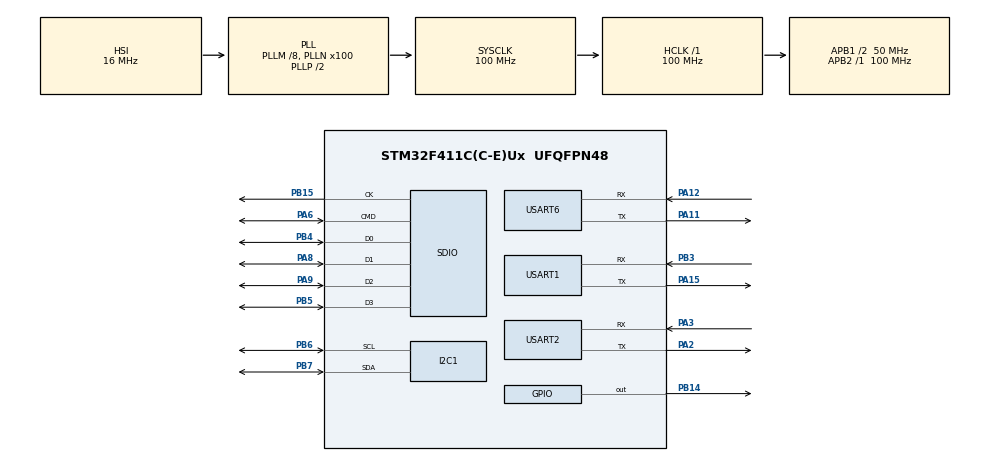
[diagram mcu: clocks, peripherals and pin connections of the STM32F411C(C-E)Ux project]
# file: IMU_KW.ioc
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Dma.Request0=SDIO_RX
Dma.Request1=SDIO_TX
Dma.Request2=USART2_RX
Dma.SDIO_RX.0.Direction=DMA_PERIPH_TO_MEMORY
Dma.SDIO_RX.0.FIFOMode=DMA_FIFOMODE_ENABLE
Dma.SDIO_RX.0.FIFOThreshold=DMA_FIFO_THRESHOLD_FULL
Dma.SDIO_RX.0.Instance=DMA2_Stream3
Dma.SDIO_RX.0.MemBurst=DMA_MBURST_INC4
Dma.SDIO_RX.0.MemDataAlignment=DMA_MDATAALIGN_WORD
Dma.SDIO_RX.0.MemInc=DMA_MINC_ENABLE
Dma.SDIO_RX.0.Mode=DMA_PFCTRL
Dma.SDIO_RX.0.PeriphBurst=DMA_PBURST_INC4
Dma.SDIO_RX.0.PeriphDataAlignment=DMA_PDATAALIGN_WORD
Dma.SDIO_RX.0.PeriphInc=DMA_PINC_DISABLE
Dma.SDIO_RX.0.Priority=DMA_PRIORITY_LOW
Dma.SDIO_TX.1.Direction=DMA_MEMORY_TO_PERIPH
Dma.SDIO_TX.1.FIFOMode=DMA_FIFOMODE_ENABLE
Dma.SDIO_TX.1.FIFOThreshold=DMA_FIFO_THRESHOLD_FULL
Dma.SDIO_TX.1.Instance=DMA2_Stream6
Dma.SDIO_TX.1.MemBurst=DMA_MBURST_INC4
Dma.SDIO_TX.1.MemDataAlignment=DMA_MDATAALIGN_WORD
Dma.SDIO_TX.1.MemInc=DMA_MINC_ENABLE
Dma.SDIO_TX.1.Mode=DMA_PFCTRL
Dma.SDIO_TX.1.PeriphBurst=DMA_PBURST_INC4
Dma.SDIO_TX.1.PeriphDataAlignment=DMA_PDATAALIGN_WORD
Dma.SDIO_TX.1.PeriphInc=DMA_PINC_DISABLE
Dma.SDIO_TX.1.Priority=DMA_PRIORITY_LOW
Dma.USART2_RX.2.Direction=DMA_PERIPH_TO_MEMORY
Dma.USART2_RX.2.FIFOMode=DMA_FIFOMODE_DISABLE
Dma.USART2_RX.2.Instance=DMA1_Stream5
Dma.USART2_RX.2.MemDataAlignment=DMA_MDATAALIGN_BYTE
Dma.USART2_RX.2.MemInc=DMA_MINC_ENABLE
Dma.USART2_RX.2.Mode=DMA_CIRCULAR
Dma.USART2_RX.2.PeriphDataAlignment=DMA_PDATAALIGN_BYTE
Dma.USART2_RX.2.PeriphInc=DMA_PINC_DISABLE
Dma.USART2_RX.2.Priority=DMA_PRIORITY_LOW
FATFS._MAX_SS=4096
FREERTOS.Tasks01=defaultTask,0,128,StartDefaultTask,Default,NULL
FREERTOS.configTICK_RATE_HZ=1000
Mcu.Family=STM32F4
Mcu.Name=STM32F411C(C-E)Ux
Mcu.Package=UFQFPN48
NVIC.DMA1_Stream5_IRQn=true\:5\:0\:false\:false\:true\:true\:false\:true
NVIC.DMA2_Stream3_IRQn=true\:5\:0\:false\:false\:true\:true\:false\:true
NVIC.DMA2_Stream6_IRQn=true\:5\:0\:false\:false\:true\:true\:false\:true
NVIC.PriorityGroup=NVIC_PRIORITYGROUP_4
NVIC.SDIO_IRQn=true\:5\:0\:false\:false\:true\:true\:true\:true
NVIC.TIM4_IRQn=true\:5\:0\:false\:false\:true\:true\:true\:true
NVIC.TIM5_IRQn=true\:0\:0\:false\:false\:true\:false\:false\:true
NVIC.TimeBase=TIM5_IRQn
NVIC.TimeBaseIP=TIM5
NVIC.USART1_IRQn=true\:5\:0\:false\:false\:true\:true\:true\:true
NVIC.USART2_IRQn=true\:5\:0\:false\:false\:true\:true\:true\:true
PA11.Mode=Asynchronous
PA11.Signal=USART6_TX
PA12.Mode=Asynchronous
PA12.Signal=USART6_RX
PA15.Mode=Asynchronous
PA15.Signal=USART1_TX
PA2.Mode=Asynchronous
PA2.Signal=USART2_TX
PA3.Mode=Asynchronous
PA3.Signal=USART2_RX
PA6.GPIO_PuPd=GPIO_PULLUP
PA6.Mode=SD_4_bits_Wide_bus
PA6.Signal=SDIO_CMD
PA8.GPIO_PuPd=GPIO_PULLUP
PA8.Mode=SD_4_bits_Wide_bus
PA8.Signal=SDIO_D1
PA9.GPIO_PuPd=GPIO_PULLUP
PA9.Mode=SD_4_bits_Wide_bus
PA9.Signal=SDIO_D2
PB14.Signal=GPIO_Output
PB15.Mode=SD_4_bits_Wide_bus
PB15.Signal=SDIO_CK
PB3.Mode=Asynchronous
PB3.Signal=USART1_RX
PB4.GPIO_PuPd=GPIO_PULLUP
PB4.Mode=SD_4_bits_Wide_bus
PB4.Signal=SDIO_D0
PB5.GPIO_PuPd=GPIO_PULLUP
PB5.Mode=SD_4_bits_Wide_bus
PB5.Signal=SDIO_D3
PB6.Mode=I2C
PB6.Signal=I2C1_SCL
PB7.Mode=I2C
PB7.Signal=I2C1_SDA
PH0\ -\ OSC_IN.Mode=HSE-External-Oscillator
PH0\ -\ OSC_IN.Signal=RCC_OSC_IN
PH1\ -\ OSC_OUT.Mode=HSE-External-Oscillator
PH1\ -\ OSC_OUT.Signal=RCC_OSC_OUT
ProjectManager.HeapSize=0x2000
ProjectManager.StackSize=0x4000
ProjectManager.TargetToolchain=MDK-ARM V5
RCC.48MHZClocksFreq_Value=40000000
RCC.AHBFreq_Value=100000000
RCC.APB1CLKDivider=RCC_HCLK_DIV2
RCC.APB1Freq_Value=50000000
RCC.APB1TimFreq_Value=100000000
RCC.APB2Freq_Value=100000000
RCC.APB2TimFreq_Value=100000000
RCC.CortexFreq_Value=100000000
RCC.HCLKFreq_Value=100000000
RCC.HSE_VALUE=8000000
RCC.HSI_VALUE=16000000
RCC.LSE_VALUE=32768
RCC.PLLM=8
RCC.PLLN=100
RCC.PLLQ=5
RCC.SYSCLKFreq_VALUE=100000000
RCC.SYSCLKSource=RCC_SYSCLKSOURCE_PLLCLK
RCC.VCOOutputFreq_Value=200000000
SDIO.ClockDiv=3
TIM4.Period=100-1
TIM4.Prescaler=1000-1
TIM4.TIM_MasterOutputTrigger=TIM_TRGO_UPDATE
USART1.VirtualMode=VM_ASYNC
USART2.VirtualMode=VM_ASYNC
USART6.VirtualMode=VM_ASYNC
VP_CRC_VS_CRC.Mode=CRC_Activate
VP_FATFS_VS_SDIO.Mode=SDIO
VP_FREERTOS_VS_CMSIS_V1.Mode=CMSIS_V1
VP_SYS_VS_tim5.Mode=TIM5
VP_TIM4_VS_ClockSourceINT.Mode=Internal
board=custom

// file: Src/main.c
/* USER CODE BEGIN Header */
/*Definition in INSOLE_R_KR
DATASET :
INSOLE_L : 10BYTE(FSR) + 4BYTE(ST/ED) + 2BYTE(CRC) = 16BYTE
INSOLE_R : 20BYTE(FSR) + 4BYTE(ST/ED) + 2BYTE(CRC)= 26BYTE
IMU 		 : 20BYTE(FSR) + 18BYTE(IMU) + 4BYTE(ST/ED) + 2BYTE(CRC) = 44BYTE
*/
/**
  ******************************************************************************
  * @file           : main.c
  * @brief          : Main program body
  ******************************************************************************
  * @attention
  *
  * <h2><center>&copy; Copyright (c) 2020 STMicroelectronics.
  * All rights reserved.</center></h2>
  *
  * This software component is licensed by ST under Ultimate Liberty license
  * SLA0044, the "License"; You may not use this file except in compliance with
  * the License. You may obtain a copy of the License at:
  *                             www.st.com/SLA0044
  *
  ******************************************************************************
  */
/* USER CODE END Header */

#include "main.h"
#include "cmsis_os.h"
#include "fatfs.h"

/* USER CODE BEGIN Includes */
#include <stdio.h>
#include <string.h>
#include <stdbool.h>
/* USER CODE END Includes */

/* USER CODE BEGIN PD */
//define : MPU9250
	#define MPU9250_ADDRESS	0xD2
	#define AK8963_ADDRESS   0x0C<<1
	#define AK8963_ST1       0x02  // data ready status bit 0
	#define AK8963_XOUT_L    0x03  // data
	#define ACCEL_XOUT_H     0x3B
	#define GYRO_XOUT_H      0x43
	#define AK8963_CNTL      0x0A  // Power down (0000), single-measurement (0001), self-test (1000) and Fuse ROM (1111) modes on bits 3:0
	#define ACCEL_CONFIG     0x1C
	#define CONFIG           0x1A
	#define INT_PIN_CFG      0x37
	#define INT_ENABLE       0x38
	#define ACCEL_CONFIG2    0x1D
	#define GYRO_CONFIG      0x1B
	#define SMPLRT_DIV       0x19
	#define PWR_MGMT_1       0x6B // Device defaults to the SLEEP mode
	#define PWR_MGMT_2       0x6C
	#define AK8963_ASAX      0x10  // Fuse ROM x-axis sensitivity adjustment value
enum Ascale {
  AFS_2G = 0,
  AFS_4G,
  AFS_8G,
  AFS_16G
};
enum Gscale {
  GFS_250DPS = 0,
  GFS_500DPS,
  GFS_1000DPS,
  GFS_2000DPS
};

enum Mscale {
  MFS_14BITS = 0, // 0.6 mG per LSB
  MFS_16BITS      // 0.15 mG per LSB
};

uint8_t Ascale = AFS_2G;     // AFS_2G, AFS_4G, AFS_8G, AFS_16G
uint8_t Gscale = GFS_250DPS; // GFS_250DPS, GFS_500DPS, GFS_1000DPS, GFS_2000DPS
uint8_t Mscale = MFS_16BITS; // MFS_14BITS or MFS_16BITS, 14-bit or 16-bit magnetometer resolution
uint8_t Mmode = 0x06;        // Either 8 Hz 0x02) or 100 Hz (0x06) magnetometer data ODR
float aRes, gRes, mRes;      // scale resolutions per LSB for the sensors

/* USER CODE END PD */

CRC_HandleTypeDef hcrc;

I2C_HandleTypeDef hi2c1;

SD_HandleTypeDef hsd;
DMA_HandleTypeDef hdma_sdio_rx;
DMA_HandleTypeDef hdma_sdio_tx;

TIM_HandleTypeDef htim4;

UART_HandleTypeDef huart1;
UART_HandleTypeDef huart2;
UART_HandleTypeDef huart6;
DMA_HandleTypeDef hdma_usart2_rx;

osThreadId defaultTaskHandle;
osThreadId defaultTaskHandle2;

void SystemClock_Config(void);
static void MX_GPIO_Init(void);
static void MX_DMA_Init(void);
static void MX_USART1_UART_Init(void);
static void MX_USART2_UART_Init(void);
static void MX_SDIO_SD_Init(void);
static void MX_TIM4_Init(void);
static void MX_USART6_UART_Init(void);
static void MX_CRC_Init(void);
static void MX_I2C1_Init(void);
void StartDefaultTask(void const * argument);
void StartDefaultTask2(void const * argument);

void wdg_activate(void);
void initMPU9250(void);
void readMagData(int8_t * destination);
void readGyroData(int8_t * destination);
void readAccelData(int8_t * destination);
void writeByte(uint8_t address, uint8_t subAddress, uint8_t data);
void readBytes(uint8_t address, uint8_t subAddress, uint8_t count, uint8_t * dest);
char readByte(uint8_t address, uint8_t subAddress);

void initAK8963(void);

/* USER CODE BEGIN 0 */
	//watchdog

	uint8_t wdg_cnt = 0;
	// I2C and IMU
	int8_t acc_[6] = {0,};
	int8_t gy_[6] = {0,};
	int8_t mag_[6] = {0,};;

	//recieved data
	uint16_t receive_val;
	uint16_t cal_val;

	// Communication
	bool received_flag = false;
	uint8_t txdata[46];
	uint8_t rxBuf[26];
	uint8_t rxBuf_[26];
	uint8_t rxBuf_crc[26];

	uint8_t i2cBuf[7];
	uint8_t Imu_dataBuf[18] = {0,};\
	uint8_t buff_index = 0;

	bool data_received_dma = true;

	//crc
	uint32_t crcArray[8] = {0,};
	uint32_t crcArray_send[10] = {0,};

	uint16_t crcval = 0;

	//SD card variables
	extern char SDPath[4];   /* SD logical drive path */
	extern FATFS SDFatFS;    /* File system object for SD logical drive */
	extern FIL SDFile;       /* File object for SD */

	//FILE I/O operation

	FRESULT res;                                          /* FatFs function common result code */
	uint32_t byteswritten, bytesread;                     /* File write/read counts */
	uint8_t wtext[] = "Hello from kyeum!"; 			      /* File write start buffer */
	uint8_t rtext[100];                                   /* File read buffer */

	FATFS myFATAS;
	FIL myFILE;
	UINT testByte; 										  // error detection

	//data save
	bool datasave_flg = false;

	//Timer
	uint16_t ms_tmr = 0;
	uint16_t _10ms_tmr = 0;
	uint16_t send_10ms_tmr = 0;

	uint16_t ms_sv_tmr = 0;
	bool _100ms_flg = false;
	bool _10ms_flg = false;
	bool dma_connect = false;

	uint16_t test_val = 0;

/* USER CODE END 0 */

int main(void)
{

  /* MCU Configuration--------------------------------------------------------*/

  /* Reset of all peripherals, Initializes the Flash interface and the Systick. */
  HAL_Init();

  /* Configure the system clock */
  SystemClock_Config();

  /* Initialize all configured peripherals */
  MX_GPIO_Init();
  MX_DMA_Init();
  MX_USART1_UART_Init();
  MX_USART2_UART_Init();
  MX_SDIO_SD_Init();
  MX_TIM4_Init();
  MX_USART6_UART_Init();
  MX_CRC_Init();
  MX_I2C1_Init();
  /* USER CODE BEGIN 2 */
	HAL_UART_Receive_DMA(&huart2, (uint8_t *)rxBuf_crc, 26); //interrupt mode only in the mcu data
	HAL_TIM_Base_Start_IT(&htim4);

	initMPU9250();
	initAK8963();

  /* USER CODE END 2 */

  /* Create the thread(s) */
  /* definition and creation of defaultTask */
  osThreadDef(defaultTaskHandle, StartDefaultTask, osPriorityAboveNormal, 0, 128);
  defaultTaskHandle = osThreadCreate(osThread(defaultTaskHandle), NULL);

	//osThreadDef(defaultTaskHandle2, StartDefaultTask2, osPriorityNormal, 0, 128);
  //defaultTaskHandle2 = osThreadCreate(osThread(defaultTaskHandle2), NULL);

  /* Start scheduler */
  osKernelStart();

  /* We should never get here as control is now taken by the scheduler */

  /* Infinite loop */
  while (1)
  {

  }
}

void SystemClock_Config(void)
{
  RCC_OscInitTypeDef RCC_OscInitStruct = {0};
  RCC_ClkInitTypeDef RCC_ClkInitStruct = {0};

  /** Configure the main internal regulator output voltage
  */
  __HAL_RCC_PWR_CLK_ENABLE();
  __HAL_PWR_VOLTAGESCALING_CONFIG(PWR_REGULATOR_VOLTAGE_SCALE1);
  /** Initializes the CPU, AHB and APB busses clocks
  */
  RCC_OscInitStruct.OscillatorType = RCC_OSCILLATORTYPE_HSI;
  RCC_OscInitStruct.HSIState = RCC_HSI_ON;
  RCC_OscInitStruct.HSICalibrationValue = RCC_HSICALIBRATION_DEFAULT;
  RCC_OscInitStruct.PLL.PLLState = RCC_PLL_ON;
  RCC_OscInitStruct.PLL.PLLSource = RCC_PLLSOURCE_HSI;
  RCC_OscInitStruct.PLL.PLLM = 8;
  RCC_OscInitStruct.PLL.PLLN = 100;
  RCC_OscInitStruct.PLL.PLLP = RCC_PLLP_DIV2;
  RCC_OscInitStruct.PLL.PLLQ = 5;
  if (HAL_RCC_OscConfig(&RCC_OscInitStruct) != HAL_OK)
  {
    Error_Handler();
  }
  /** Initializes the CPU, AHB and APB busses clocks
  */
  RCC_ClkInitStruct.ClockType = RCC_CLOCKTYPE_HCLK|RCC_CLOCKTYPE_SYSCLK
                              |RCC_CLOCKTYPE_PCLK1|RCC_CLOCKTYPE_PCLK2;
  RCC_ClkInitStruct.SYSCLKSource = RCC_SYSCLKSOURCE_PLLCLK;
  RCC_ClkInitStruct.AHBCLKDivider = RCC_SYSCLK_DIV1;
  RCC_ClkInitStruct.APB1CLKDivider = RCC_HCLK_DIV2;
  RCC_ClkInitStruct.APB2CLKDivider = RCC_HCLK_DIV1;

  if (HAL_RCC_ClockConfig(&RCC_ClkInitStruct, FLASH_LATENCY_3) != HAL_OK)
  {
    Error_Handler();
  }
}

static void MX_CRC_Init(void)
{

  hcrc.Instance = CRC;
  if (HAL_CRC_Init(&hcrc) != HAL_OK)
  {
    Error_Handler();
  }

}

static void MX_I2C1_Init(void)
{

  hi2c1.Instance = I2C1;
  hi2c1.Init.ClockSpeed = 1000000;
  hi2c1.Init.DutyCycle = I2C_DUTYCYCLE_2;
  hi2c1.Init.OwnAddress1 = 0;
  hi2c1.Init.AddressingMode = I2C_ADDRESSINGMODE_7BIT;
  hi2c1.Init.DualAddressMode = I2C_DUALADDRESS_DISABLE;
  hi2c1.Init.OwnAddress2 = 0;
  hi2c1.Init.GeneralCallMode = I2C_GENERALCALL_DISABLE;
  hi2c1.Init.NoStretchMode = I2C_NOSTRETCH_DISABLE;
  if (HAL_I2C_Init(&hi2c1) != HAL_OK)
  {
    Error_Handler();
  }

}

static void MX_SDIO_SD_Init(void)
{

  hsd.Instance = SDIO;
  hsd.Init.ClockEdge = SDIO_CLOCK_EDGE_RISING;
  hsd.Init.ClockBypass = SDIO_CLOCK_BYPASS_DISABLE;
  hsd.Init.ClockPowerSave = SDIO_CLOCK_POWER_SAVE_DISABLE;
  hsd.Init.BusWide = SDIO_BUS_WIDE_1B;
  hsd.Init.HardwareFlowControl = SDIO_HARDWARE_FLOW_CONTROL_DISABLE;
  hsd.Init.ClockDiv = 3;

}

static void MX_TIM4_Init(void)
{

  TIM_ClockConfigTypeDef sClockSourceConfig = {0};
  TIM_MasterConfigTypeDef sMasterConfig = {0};

  htim4.Instance = TIM4;
  htim4.Init.Prescaler = 1000-1;
  htim4.Init.CounterMode = TIM_COUNTERMODE_UP;
  htim4.Init.Period = 100-1;
  htim4.Init.ClockDivision = TIM_CLOCKDIVISION_DIV1;
  htim4.Init.AutoReloadPreload = TIM_AUTORELOAD_PRELOAD_DISABLE;
  if (HAL_TIM_Base_Init(&htim4) != HAL_OK)
  {
    Error_Handler();
  }
  sClockSourceConfig.ClockSource = TIM_CLOCKSOURCE_INTERNAL;
  if (HAL_TIM_ConfigClockSource(&htim4, &sClockSourceConfig) != HAL_OK)
  {
    Error_Handler();
  }
  sMasterConfig.MasterOutputTrigger = TIM_TRGO_UPDATE;
  sMasterConfig.MasterSlaveMode = TIM_MASTERSLAVEMODE_DISABLE;
  if (HAL_TIMEx_MasterConfigSynchronization(&htim4, &sMasterConfig) != HAL_OK)
  {
    Error_Handler();
  }

}

static void MX_USART1_UART_Init(void)
{

  huart1.Instance = USART1;
  huart1.Init.BaudRate = 115200;
  huart1.Init.WordLength = UART_WORDLENGTH_8B;
  huart1.Init.StopBits = UART_STOPBITS_1;
  huart1.Init.Parity = UART_PARITY_NONE;
  huart1.Init.Mode = UART_MODE_TX_RX;
  huart1.Init.HwFlowCtl = UART_HWCONTROL_NONE;
  huart1.Init.OverSampling = UART_OVERSAMPLING_16;
  if (HAL_UART_Init(&huart1) != HAL_OK)
  {
    Error_Handler();
  }

}

static void MX_USART2_UART_Init(void)
{

  huart2.Instance = USART2;
  huart2.Init.BaudRate = 115200;
  huart2.Init.WordLength = UART_WORDLENGTH_8B;
  huart2.Init.StopBits = UART_STOPBITS_1;
  huart2.Init.Parity = UART_PARITY_NONE;
  huart2.Init.Mode = UART_MODE_TX_RX;
  huart2.Init.HwFlowCtl = UART_HWCONTROL_NONE;
  huart2.Init.OverSampling = UART_OVERSAMPLING_16;
  if (HAL_UART_Init(&huart2) != HAL_OK)
  {
    Error_Handler();
  }

}

static void MX_USART6_UART_Init(void)
{

  huart6.Instance = USART6;
  huart6.Init.BaudRate = 115200;
  huart6.Init.WordLength = UART_WORDLENGTH_8B;
  huart6.Init.StopBits = UART_STOPBITS_1;
  huart6.Init.Parity = UART_PARITY_NONE;
  huart6.Init.Mode = UART_MODE_TX_RX;
  huart6.Init.HwFlowCtl = UART_HWCONTROL_NONE;
  huart6.Init.OverSampling = UART_OVERSAMPLING_16;
  if (HAL_UART_Init(&huart6) != HAL_OK)
  {
    Error_Handler();
  }

}

static void MX_DMA_Init(void)
{

  /* DMA controller clock enable */
  __HAL_RCC_DMA2_CLK_ENABLE();
  __HAL_RCC_DMA1_CLK_ENABLE();

  /* DMA interrupt init */
  /* DMA1_Stream5_IRQn interrupt configuration */
  HAL_NVIC_SetPriority(DMA1_Stream5_IRQn, 5, 0);
  HAL_NVIC_EnableIRQ(DMA1_Stream5_IRQn);
  /* DMA2_Stream3_IRQn interrupt configuration */
  HAL_NVIC_SetPriority(DMA2_Stream3_IRQn, 5, 0);
  HAL_NVIC_EnableIRQ(DMA2_Stream3_IRQn);
  /* DMA2_Stream6_IRQn interrupt configuration */
  HAL_NVIC_SetPriority(DMA2_Stream6_IRQn, 5, 0);
  HAL_NVIC_EnableIRQ(DMA2_Stream6_IRQn);

}

static void MX_GPIO_Init(void)
{
  GPIO_InitTypeDef GPIO_InitStruct = {0};

  /* GPIO Ports Clock Enable */
  __HAL_RCC_GPIOH_CLK_ENABLE();
  __HAL_RCC_GPIOA_CLK_ENABLE();
  __HAL_RCC_GPIOB_CLK_ENABLE();

  /*Configure GPIO pin Output Level */
  HAL_GPIO_WritePin(GPIOB, GPIO_PIN_14, GPIO_PIN_RESET);

  /*Configure GPIO pin : PB14 */
  GPIO_InitStruct.Pin = GPIO_PIN_14;
  GPIO_InitStruct.Mode = GPIO_MODE_OUTPUT_PP;
  GPIO_InitStruct.Pull = GPIO_NOPULL;
  GPIO_InitStruct.Speed = GPIO_SPEED_FREQ_LOW;
  HAL_GPIO_Init(GPIOB, &GPIO_InitStruct);

}

/* USER CODE BEGIN 4 */

void writeByte(uint8_t address, uint8_t subAddress, uint8_t data)
{
   uint8_t data_write[2];
   data_write[0] = subAddress;
   data_write[1] = data;
   HAL_I2C_Master_Transmit(&hi2c1, address, data_write, 2, 10);
}
char readByte(uint8_t address, uint8_t subAddress)
{
    uint8_t data[1]; // `data` will store the register data
    uint8_t data_write[1];
    data_write[0] = subAddress;
	HAL_I2C_Master_Transmit(&hi2c1, address, data_write, 1, 10);
	HAL_I2C_Master_Receive(&hi2c1, address, data, 1, 10); // Data receive sequencing from i2cBuf[1]
    return data[0];
}

void readBytes(uint8_t address, uint8_t subAddress, uint8_t count, uint8_t * dest)
{
    uint8_t data[14];
    uint8_t data_write[1];
    data_write[0] = subAddress;
	HAL_I2C_Master_Transmit(&hi2c1, address, data_write, 1, 10);
	HAL_I2C_Master_Receive(&hi2c1, address, data, count, 10); // Data receive sequencing from i2cBuf[1]
    for(int ii = 0; ii < count; ii++) {
     dest[ii] = data[ii];
    }
}

void readAccelData(int8_t * destination)
{
  uint8_t rawData[6];  // x/y/z accel register data stored here
  uint8_t data_write[1];
  data_write[0] = ACCEL_XOUT_H;
  HAL_I2C_Master_Transmit(&hi2c1, MPU9250_ADDRESS, data_write, 1,10);
  HAL_I2C_Master_Receive(&hi2c1, MPU9250_ADDRESS, rawData, 6, 10); // Data receive sequencing from i2cBuf[1]

  memcpy(&destination[0], &rawData[0],6);
}

void readGyroData(int8_t * destination)
{

  uint8_t rawData[6];  // x/y/z accel register data stored here
  uint8_t data_write[1];
  data_write[0] = GYRO_XOUT_H;
  HAL_I2C_Master_Transmit(&hi2c1, MPU9250_ADDRESS, data_write, 1,10);
  HAL_I2C_Master_Receive(&hi2c1, MPU9250_ADDRESS, rawData, 6, 10); // Data receive sequencing from i2cBuf[1]
  memcpy(&destination[0], &rawData[0],6);

}

void  readMagData(int8_t * destination)
{
  uint8_t rawData[7];  // x/y/z gyro register data, ST2 register stored here, must read ST2 at end of data acquisition
  if(readByte(AK8963_ADDRESS, AK8963_ST1) & 0x01) { // wait for magnetometer data ready bit to be set
	 uint8_t data_write[1];
	data_write[0] = AK8963_XOUT_L;
	HAL_I2C_Master_Transmit(&hi2c1, AK8963_ADDRESS, data_write, 1,10);
	HAL_I2C_Master_Receive(&hi2c1, AK8963_ADDRESS, rawData, 7, 10); // Data receive sequencing from i2cBuf[1]
	uint8_t c = rawData[6]; // End data read by reading ST2 register
    if(!(c & 0x08)) { // Check if magnetic sensor overflow set, if not then report data
		memcpy(&destination[0], &rawData[0],6);

   }
  }
}

 void initAK8963()
{
  // First extract the factory calibration for each magnetometer axis
  uint8_t rawData[3];  // x/y/z gyro calibration data stored here
  writeByte(AK8963_ADDRESS, AK8963_CNTL, 0x00); // Power down magnetometer
  HAL_Delay(100);
  writeByte(AK8963_ADDRESS, AK8963_CNTL, 0x0F); // Enter Fuse ROM access mode
  HAL_Delay(100);
//  readBytes(AK8963_ADDRESS, AK8963_ASAX, 3, &rawData[0]);  // Read the x-, y-, and z-axis calibration values
//  destination[0] =  (float)(rawData[0] - 128)/256.0f + 1.0f;   // Return x-axis sensitivity adjustment values, etc.
//  destination[1] =  (float)(rawData[1] - 128)/256.0f + 1.0f;
//  destination[2] =  (float)(rawData[2] - 128)/256.0f + 1.0f;
  writeByte(AK8963_ADDRESS, AK8963_CNTL, 0x00); // Power down magnetometer
  HAL_Delay(100);
  // Configure the magnetometer for continuous read and highest resolution
  // set Mscale bit 4 to 1 (0) to enable 16 (14) bit resolution in CNTL register,
  // and enable continuous mode data acquisition Mmode (bits [3:0]), 0010 for 8 Hz and 0110 for 100 Hz sample rates
  writeByte(AK8963_ADDRESS, AK8963_CNTL, Mscale << 4 | Mmode); // Set magnetometer data resolution and sample ODR
  HAL_Delay(100);
}

void initMPU9250()
{
// Initialize MPU9250 device
 // wake up device
  writeByte(MPU9250_ADDRESS, PWR_MGMT_1, 0x00); // Clear sleep mode bit (6), enable all sensors
  HAL_Delay(100); // Delay 100 ms for PLL to get established on x-axis gyro; should check for PLL ready interrupt

 // get stable time source
  writeByte(MPU9250_ADDRESS, PWR_MGMT_1, 0x01);  // Set clock source to be PLL with x-axis gyroscope reference, bits 2:0 = 001
  HAL_Delay(100); // Delay 100 ms for PLL to get established on x-axis gyro; should check for PLL ready interrupt

 // Configure Gyro and Accelerometer
 // Disable FSYNC and set accelerometer and gyro bandwidth to 44 and 42 Hz, respectively;
 // DLPF_CFG = bits 2:0 = 010; this sets the sample rate at 1 kHz for both
 // Maximum delay is 4.9 ms which is just over a 200 Hz maximum rate
  writeByte(MPU9250_ADDRESS, CONFIG, 0x03);
   HAL_Delay(100); // Delay 100 ms for PLL to get established on x-axis gyro; should check for PLL ready interrupt

 // Set sample rate = gyroscope output rate/(1 + SMPLRT_DIV)
  writeByte(MPU9250_ADDRESS, SMPLRT_DIV, 0x04);  // Use a 200 Hz rate; the same rate set in CONFIG above
   HAL_Delay(100); // Delay 100 ms for PLL to get established on x-axis gyro; should check for PLL ready interrupt

 // Set gyroscope full scale range
 // Range selects FS_SEL and AFS_SEL are 0 - 3, so 2-bit values are left-shifted into positions 4:3
  uint8_t c = readByte(MPU9250_ADDRESS, GYRO_CONFIG); // get current GYRO_CONFIG register value
    HAL_Delay(100); // Delay 100 ms for PLL to get established on x-axis gyro; should check for PLL ready interrupt

 // c = c & ~0xE0; // Clear self-test bits [7:5]
  c = c & ~0x02; // Clear Fchoice bits [1:0]
  c = c & ~0x18; // Clear AFS bits [4:3]
  c = c | Gscale << 3; // Set full scale range for the gyro
 // c =| 0x00; // Set Fchoice for the gyro to 11 by writing its inverse to bits 1:0 of GYRO_CONFIG
  writeByte(MPU9250_ADDRESS, GYRO_CONFIG, c ); // Write new GYRO_CONFIG value to register
    HAL_Delay(100); // Delay 100 ms for PLL to get established on x-axis gyro; should check for PLL ready interrupt

 // Set accelerometer full-scale range configuration
  c = readByte(MPU9250_ADDRESS, ACCEL_CONFIG); // get current ACCEL_CONFIG register value
 // c = c & ~0xE0; // Clear self-test bits [7:5]
  c = c & ~0x18;  // Clear AFS bits [4:3]
  c = c | Ascale << 3; // Set full scale range for the accelerometer
    HAL_Delay(100); // Delay 100 ms for PLL to get established on x-axis gyro; should check for PLL ready interrupt

  writeByte(MPU9250_ADDRESS, ACCEL_CONFIG, c); // Write new ACCEL_CONFIG register value
  HAL_Delay(100); // Delay 100 ms for PLL to get established on x-axis gyro; should check for PLL ready interrupt

 // Set accelerometer sample rate configuration
 // It is possible to get a 4 kHz sample rate from the accelerometer by choosing 1 for
 // accel_fchoice_b bit [3]; in this case the bandwidth is 1.13 kHz
  c = readByte(MPU9250_ADDRESS, ACCEL_CONFIG2); // get current ACCEL_CONFIG2 register value
  c = c & ~0x0F; // Clear accel_fchoice_b (bit 3) and A_DLPFG (bits [2:0])
  c = c | 0x03;  // Set accelerometer rate to 1 kHz and bandwidth to 41 Hz
  writeByte(MPU9250_ADDRESS, ACCEL_CONFIG2, c); // Write new ACCEL_CONFIG2 register value
  HAL_Delay(100); // Delay 100 ms for PLL to get established on x-axis gyro; should check for PLL ready interrupt

 // The accelerometer, gyro, and thermometer are set to 1 kHz sample rates,
 // but all these rates are further reduced by a factor of 5 to 200 Hz because of the SMPLRT_DIV setting

  // Configure Interrupts and Bypass Enable
  // Set interrupt pin active high, push-pull, and clear on read of INT_STATUS, enable I2C_BYPASS_EN so additional chips
  // can join the I2C bus and all can be controlled as master
   writeByte(MPU9250_ADDRESS, INT_PIN_CFG, 0x22);
     HAL_Delay(100); // Delay 100 ms for PLL to get established on x-axis gyro; should check for PLL ready interrupt

   writeByte(MPU9250_ADDRESS, INT_ENABLE, 0x01);  // Enable data ready (bit 0) interrupt
     HAL_Delay(100); // Delay 100 ms for PLL to get established on x-axis gyro; should check for PLL ready interrupt

}

void HAL_UART_TxCpltCallback(UART_HandleTypeDef *huart)
{
  /* Prevent unused argument(s) compilation warning */
	if(huart->Instance == USART1){

	}
	/* NOTE: This function should not be modified, when the callback is needed,
           the HAL_UART_TxCpltCallback could be implemented in the user file
	*/
}

 void HAL_UART_RxCpltCallback(UART_HandleTypeDef *huart)
{
  /* Prevent unused argument(s) compilation warning */
  /* NOTE: This function should not be modified, when the callback is needed,
           the HAL_UART_RxCpltCallback could be implemented in the user file
   */
	//add ring buffer
	// data pacing and save buff to transmit array
	if(huart->Instance == USART2){
				//if(test_val !=0){
				HAL_GPIO_TogglePin(GPIOB, GPIO_PIN_14);
				if(rxBuf_crc[0] == 0xFF && rxBuf_crc[1] == 0xFF){
					received_flag = true;
					dma_connect = true;
					memcpy(&rxBuf_[0], &rxBuf_crc[0], 26 );
				}
				else
				{
					received_flag = false;
					HAL_DMA_Abort(&hdma_usart2_rx);
				}
				test_val++;
	}

}

void wdg_activate(){
	HAL_NVIC_SystemReset();
}

/* USER CODE END 4 */

void StartDefaultTask(void const * argument)
{
  /* init code for FATFS */
  MX_FATFS_Init();

  /* USER CODE BEGIN 5 */
	f_mount(&SDFatFS, (TCHAR const*)SDPath, 1);

	if(f_open(&SDFile, "test.txt", FA_CREATE_ALWAYS | FA_WRITE )== FR_OK){
		HAL_GPIO_TogglePin(GPIOB,GPIO_PIN_14);
		osDelay(500);
		HAL_GPIO_TogglePin(GPIOB,GPIO_PIN_14);
		osDelay(500);
		HAL_GPIO_TogglePin(GPIOB,GPIO_PIN_14);
		osDelay(500);
		HAL_GPIO_TogglePin(GPIOB,GPIO_PIN_14);
	}
	else{
		HAL_GPIO_TogglePin(GPIOB,GPIO_PIN_14);
		osDelay(2000);
		HAL_GPIO_TogglePin(GPIOB,GPIO_PIN_14);
		osDelay(2000);
		HAL_GPIO_TogglePin(GPIOB,GPIO_PIN_14);
		osDelay(2000);
		HAL_GPIO_TogglePin(GPIOB,GPIO_PIN_14);
		}

  /* Infinite loop */
  for(;;)
  {
		if(_10ms_flg){
		_10ms_flg = false;

		if(received_flag) {
			uint8_t cprxBuf[26];
			memcpy(&cprxBuf[0], &rxBuf_[0], sizeof(uint8_t)*26);
			received_flag = false;
			memset(crcArray,0,8*sizeof(crcArray[0]));
			memmove(&crcArray[0], &cprxBuf[2], sizeof(uint8_t)*20);
			char crc_begin = 22; //MLSB
			char crc_end = 23;   //LLSB
			receive_val = (int16_t)(((int16_t)cprxBuf[crc_begin] << 8) | cprxBuf[crc_end]);
			cal_val = (HAL_CRC_Calculate(&hcrc,crcArray,5)&0xffff);
			if(cal_val == receive_val)
			{
				memmove(&txdata[4], &cprxBuf[2], sizeof(uint8_t)*20);
			}
			else
			{
				wdg_cnt ++;
				continue;
			}
		}

		readAccelData(&acc_[0]);
		readMagData(&mag_[0]);
		readGyroData(&gy_[0]);

		memmove(&txdata[24], &acc_[0],6);
		memmove(&txdata[30], &mag_[0],6);
		memmove(&txdata[36], &gy_[0],6);

		txdata[0] = 0xFF;
		txdata[1] = 0xFF;
		txdata[2] = send_10ms_tmr >> 8;
		txdata[3] = send_10ms_tmr & 0xff;
		memset(crcArray_send,0,10*sizeof(crcArray_send[0]));

		for(int i =0; i <10; i++)
		{
			char c = 4*i;
			crcArray_send[i] = ((uint32_t)txdata[c+2] << 24) | ((uint32_t)txdata[c+3] << 16) | ((uint32_t)txdata[c+4] << 8) | ((uint32_t)txdata[c+5]);
		}

		crcval = HAL_CRC_Calculate(&hcrc,crcArray_send,10)& 0xffff;

		txdata[42] = crcval >> 8;
		txdata[43] = crcval & 0xff;
		txdata[44] = 0xFF;
		txdata[45] = 0xFE;

	 HAL_UART_Transmit_IT(&huart1,txdata,46);
	}
  }
  /* USER CODE END 5 */
}

void StartDefaultTask2(void const * argument)
{
  /* init code for FATFS */

  /* Infinite loop */
  for(;;)
  {

  }
  /* USER CODE END 5 */
}

void HAL_TIM_PeriodElapsedCallback(TIM_HandleTypeDef *htim)
{
  if (htim->Instance == TIM5) {
    HAL_IncTick();
  }
  /* USER CODE BEGIN Callback 1 */
  	if(htim ->Instance  == TIM4){
		ms_tmr ++;
		_10ms_tmr++;
		ms_sv_tmr ++;
		if(ms_tmr % 10 == 0){
			_10ms_flg = true;
			ms_tmr = 0;
		}
		if(_10ms_tmr % 10 == 0){
			send_10ms_tmr++;
			_10ms_tmr = 0;
		}

		if(ms_sv_tmr % 100 == 0){ // 10sec later - date
			datasave_flg = false;
		if(!dma_connect) HAL_UART_Receive_DMA(&huart2, (uint8_t *)rxBuf_crc, 26); //interrupt mode only in the mcu data
			HAL_UART_Receive_DMA(&huart2, (uint8_t *)rxBuf_crc, 26); //interrupt mode only in the mcu data
			ms_sv_tmr = 0;
		}

	// save data 10sec
	}
  /* USER CODE END Callback 1 */
}

void Error_Handler(void)
{
}

#ifdef  USE_FULL_ASSERT
/**
  * @brief  Reports the name of the source file and the source line number
  *         where the assert_param error has occurred.
  * @param  file: pointer to the source file name
  * @param  line: assert_param error line source number
  * @retval None
  */
void assert_failed(uint8_t *file, uint32_t line)
{
  /* USER CODE BEGIN 6 */
  /* User can add his own implementation to report the file name and line number,
     tex: printf("Wrong parameters value: file %s on line %d\r\n", file, line) */

//	SD card Data transmit

//   	if(datasave_flg){
//	for(int i =0; i<24; i++) {
//	f_printf(&SDFile, "%02x", txdata[i]);
//	}
//	f_printf(&SDFile, "\n");

//	}
//	else
//	{
//		f_close(&SDFile);
//	}
//

  /* USER CODE END 6 */
}
#endif /* USE_FULL_ASSERT */

/************************ (C) COPYRIGHT STMicroelectronics *****END OF FILE****/
